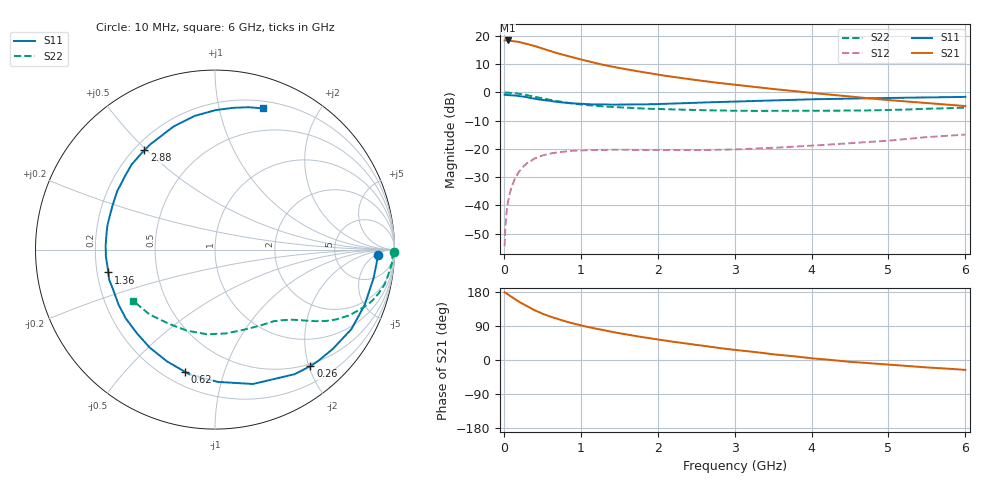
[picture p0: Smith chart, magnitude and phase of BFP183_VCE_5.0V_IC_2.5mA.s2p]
! Infineon Technologies  Discrete & RF Semiconductors
! BFP183
! VCE = 5.0 V,  IC =  2.5 mA
! Common Emitter S-Parameters:  Jan 2016
# GHz  S  MA  R  50
!  f  S11  S21  S12  S22
! GHz  MAG  ANG  MAG  ANG  MAG  ANG  MAG  ANG
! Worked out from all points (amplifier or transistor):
!   210 points, 10 MHz to 6 GHz, reference 50 ohm
!   highest |S21| = 18.4 dB at 50 MHz (marker M1)
!   |S21| within 3 dB of that: start of sweep to 519.2 MHz
!   unconditionally stable (mu >= 1): 1.991 GHz to 5.909 GHz
!   at 185 MHz: K = 0.11, MSG = 23.3 dB, |S12| = -28.6 dB
!   at 1.52 GHz: K = 0.77, MSG = 14.4 dB, |S12| = -20.3 dB
!   at 6 GHz: K = 0.98, MSG = 5.0 dB, |S12| = -14.9 dB
!   S11 on the Smith chart (normalised r, x): 10 MHz: 19, -6; 260 MHz: 0.46, -2.03; 620 MHz: 0.28, -0.75; 1.36 GHz: 0.25, -0.10; 2.88 GHz: 0.24, +0.49; 6 GHz: 0.27, +1.36
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0.01  0.9087 -1.9  8.277 178.8  0.0019 88.8  0.9968 -0.8
0.025  0.9031 -5.0  8.238 177.0  0.0053 89.2  0.9884 -2.0
0.05  0.8977 -10.2  8.28 173.2  0.0106 87.9  0.9903 -3.9
0.105  0.8869 -21.3  8.086 165.9  0.022 77.9  0.9757 -8.2
0.2  0.8587 -40.0  7.797 153.4  0.0397 67.9  0.943 -15.1
0.26  0.8391 -50.7  7.389 146.5  0.0496 62.5  0.9125 -18.9
0.3  0.8234 -57.5  7.192 142.3  0.0556 58.9  0.889 -21.1
0.4  0.7781 -74.2  6.62 131.3  0.0674 50.9  0.8348 -26.0
0.5  0.7373 -88.8  5.975 122.3  0.0763 44.0  0.7798 -29.9
0.62  0.7009 -103.8  5.315 113.6  0.0835 37.8  0.7262 -33.2
0.7  0.6777 -113.3  4.9 108.1  0.0871 34.4  0.695 -35.0
0.8  0.6561 -123.6  4.512 101.8  0.0903 30.5  0.6632 -36.9
1.02  0.6252 -143.9  3.756 90.4  0.0939 24.6  0.6064 -40.4
1.12  0.6162 -151.6  3.49 85.7  0.0953 22.7  0.5882 -41.7
1.36  0.6082 -167.9  2.937 76.2  0.0964 18.8  0.557 -44.8
1.68  0.6104 173.1  2.436 64.5  0.096 16.2  0.5271 -49.0
2.02  0.6211 157.0  2.036 53.6  0.0957 15.4  0.5059 -53.6
2.88  0.679 125.4  1.425 29.7  0.097 18.3  0.4751 -69.2
3.1  0.6921 119.1  1.32 24.7  0.0989 19.5  0.4711 -73.8
4.1  0.7566 96.9  0.95 2.9  0.1161 24.3  0.4724 -98.3
5.1  0.799 81.6  0.713 -13.6  0.1439 25.7  0.4905 -125.1
6  0.8311 71.2  0.572 -26.1  0.179 20.5  0.5381 -148.0
